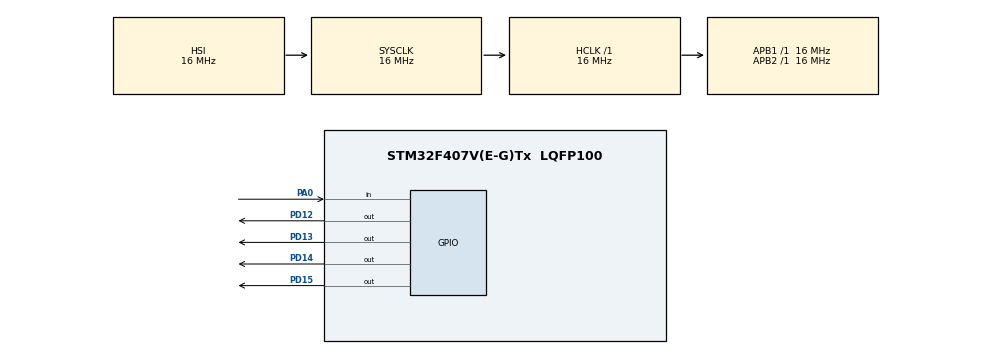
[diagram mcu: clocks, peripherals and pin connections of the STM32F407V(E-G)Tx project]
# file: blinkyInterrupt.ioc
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Mcu.Family=STM32F4
Mcu.Name=STM32F407V(E-G)Tx
Mcu.Package=LQFP100
NVIC.PriorityGroup=NVIC_PRIORITYGROUP_4
NVIC.TIM2_IRQn=true\:0\:0\:false\:true\:true\:1\:true\:true\:true
PA0-WKUP.GPIO_PuPd=GPIO_PULLUP
PA0-WKUP.Signal=GPIO_Input
PD12.Signal=GPIO_Output
PD13.Signal=GPIO_Output
PD14.Signal=GPIO_Output
PD15.Signal=GPIO_Output
ProjectManager.HeapSize=0x200
ProjectManager.StackSize=0x400
ProjectManager.TargetToolchain=STM32CubeIDE
RCC.AHBFreq_Value=16000000
RCC.APB1Freq_Value=16000000
RCC.APB2Freq_Value=16000000
RCC.CortexFreq_Value=16000000
RCC.HSE_VALUE=25000000
RCC.HSI_VALUE=16000000
RCC.LSE_VALUE=32768
RCC.SYSCLKFreq_VALUE=16000000
RCC.VCOOutputFreq_Value=192000000
TIM2.Period=4000
TIM2.Prescaler=999
VP_TIM2_VS_ClockSourceINT.Mode=Internal
board=custom

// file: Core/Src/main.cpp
/* USER CODE BEGIN Header */
/**
  ******************************************************************************
  * @file           : main.c
  * @brief          : Main program body
  ******************************************************************************
  * @attention
  *
  * Copyright (c) 2023 STMicroelectronics.
  * All rights reserved.
  *
  * This software is licensed under terms that can be found in the LICENSE file
  * in the root directory of this software component.
  * If no LICENSE file comes with this software, it is provided AS-IS.
  *
  ******************************************************************************
  */
/* USER CODE END Header */
#include "main.h"
#include "stdio.h"
#include "stdbool.h"
#include "button.hpp"

/* USER CODE BEGIN PD */
#define GPIOA_PIN0_IDR 0x01
#define DELAY_MAX 175000
/* USER CODE END PD */

TIM_HandleTypeDef htim2;

/* USER CODE BEGIN PV */
volatile uint32_t* gpioAIDR = (&(GPIOA->IDR));

Button usrButton(0, gpioAIDR, GPIO_PIN_0);
/* USER CODE END PV */

void SystemClock_Config(void);
static void MX_GPIO_Init(void);
static void MX_TIM2_Init(void);
static void MX_NVIC_Init(void);

int main(void)
{

  /* MCU Configuration--------------------------------------------------------*/

  /* Reset of all peripherals, Initializes the Flash interface and the Systick. */
  HAL_Init();

  /* Configure the system clock */
  SystemClock_Config();

  /* Initialize all configured peripherals */
  MX_GPIO_Init();
  MX_TIM2_Init();

  /* Initialize interrupts */
  MX_NVIC_Init();
  /* USER CODE BEGIN 2 */
  HAL_TIM_Base_Start_IT(&htim2);

  /* USER CODE END 2 */

  /* Infinite loop */
  while (1)
  {
	/* USER CODE BEGIN 3 */

		  HAL_GPIO_TogglePin(GPIOD, GPIO_PIN_12);
		  for(uint32_t i=DELAY_MAX; i--;);
		  HAL_GPIO_TogglePin(GPIOD, GPIO_PIN_13);
		  for(uint32_t i=DELAY_MAX; i--;);
		  HAL_GPIO_TogglePin(GPIOD, GPIO_PIN_14);
		  for(uint32_t i=DELAY_MAX; i--;);
		  HAL_GPIO_TogglePin(GPIOD, GPIO_PIN_15);
		  for(uint32_t i=DELAY_MAX; i--;);

    /* USER CODE END 3 */
  }
}

void SystemClock_Config(void)
{
  RCC_OscInitTypeDef RCC_OscInitStruct = {0};
  RCC_ClkInitTypeDef RCC_ClkInitStruct = {0};

  /** Configure the main internal regulator output voltage
  */
  __HAL_RCC_PWR_CLK_ENABLE();
  __HAL_PWR_VOLTAGESCALING_CONFIG(PWR_REGULATOR_VOLTAGE_SCALE1);

  /** Initializes the RCC Oscillators according to the specified parameters
  * in the RCC_OscInitTypeDef structure.
  */
  RCC_OscInitStruct.OscillatorType = RCC_OSCILLATORTYPE_HSI;
  RCC_OscInitStruct.HSIState = RCC_HSI_ON;
  RCC_OscInitStruct.HSICalibrationValue = RCC_HSICALIBRATION_DEFAULT;
  RCC_OscInitStruct.PLL.PLLState = RCC_PLL_NONE;
  if (HAL_RCC_OscConfig(&RCC_OscInitStruct) != HAL_OK)
  {
    Error_Handler();
  }

  /** Initializes the CPU, AHB and APB buses clocks
  */
  RCC_ClkInitStruct.ClockType = RCC_CLOCKTYPE_HCLK|RCC_CLOCKTYPE_SYSCLK
                              |RCC_CLOCKTYPE_PCLK1|RCC_CLOCKTYPE_PCLK2;
  RCC_ClkInitStruct.SYSCLKSource = RCC_SYSCLKSOURCE_HSI;
  RCC_ClkInitStruct.AHBCLKDivider = RCC_SYSCLK_DIV1;
  RCC_ClkInitStruct.APB1CLKDivider = RCC_HCLK_DIV1;
  RCC_ClkInitStruct.APB2CLKDivider = RCC_HCLK_DIV1;

  if (HAL_RCC_ClockConfig(&RCC_ClkInitStruct, FLASH_LATENCY_0) != HAL_OK)
  {
    Error_Handler();
  }
}

/**
  * @brief NVIC Configuration.
  * @retval None
  */
static void MX_NVIC_Init(void)
{
  /* TIM2_IRQn interrupt configuration */
  HAL_NVIC_SetPriority(TIM2_IRQn, 0, 0);
  HAL_NVIC_EnableIRQ(TIM2_IRQn);
}

static void MX_TIM2_Init(void)
{

  TIM_ClockConfigTypeDef sClockSourceConfig = {0};
  TIM_MasterConfigTypeDef sMasterConfig = {0};

  htim2.Instance = TIM2;
  htim2.Init.Prescaler = 999;
  htim2.Init.CounterMode = TIM_COUNTERMODE_UP;
  htim2.Init.Period = 999;
  htim2.Init.ClockDivision = TIM_CLOCKDIVISION_DIV1;
  htim2.Init.AutoReloadPreload = TIM_AUTORELOAD_PRELOAD_DISABLE;
  if (HAL_TIM_Base_Init(&htim2) != HAL_OK)
  {
    Error_Handler();
  }
  sClockSourceConfig.ClockSource = TIM_CLOCKSOURCE_INTERNAL;
  if (HAL_TIM_ConfigClockSource(&htim2, &sClockSourceConfig) != HAL_OK)
  {
    Error_Handler();
  }
  sMasterConfig.MasterOutputTrigger = TIM_TRGO_RESET;
  sMasterConfig.MasterSlaveMode = TIM_MASTERSLAVEMODE_DISABLE;
  if (HAL_TIMEx_MasterConfigSynchronization(&htim2, &sMasterConfig) != HAL_OK)
  {
    Error_Handler();
  }

}

static void MX_GPIO_Init(void)
{
  GPIO_InitTypeDef GPIO_InitStruct = {0};

  /* GPIO Ports Clock Enable */
  __HAL_RCC_GPIOA_CLK_ENABLE();
  __HAL_RCC_GPIOD_CLK_ENABLE();

  /*Configure GPIO pin Output Level */
  HAL_GPIO_WritePin(GPIOD, GPIO_PIN_12|GPIO_PIN_13|GPIO_PIN_14|GPIO_PIN_15, GPIO_PIN_RESET);

  /*Configure GPIO pin : PA0 */
  GPIO_InitStruct.Pin = GPIO_PIN_0;
  GPIO_InitStruct.Mode = GPIO_MODE_INPUT;
  GPIO_InitStruct.Pull = GPIO_PULLDOWN;
  HAL_GPIO_Init(GPIOA, &GPIO_InitStruct);

  /*Configure GPIO pins : PD12 PD13 PD14 PD15 */
  GPIO_InitStruct.Pin = GPIO_PIN_12|GPIO_PIN_13|GPIO_PIN_14|GPIO_PIN_15;
  GPIO_InitStruct.Mode = GPIO_MODE_OUTPUT_PP;
  GPIO_InitStruct.Pull = GPIO_NOPULL;
  GPIO_InitStruct.Speed = GPIO_SPEED_FREQ_LOW;
  HAL_GPIO_Init(GPIOD, &GPIO_InitStruct);

}

/* USER CODE BEGIN 4 */
// Callback: timer has rolled over
void HAL_TIM_PeriodElapsedCallback(TIM_HandleTypeDef *htim)
{
	//printf("timer_interrupt");

  if (htim == &htim2 )
  {
	  while (usrButton.debounce())
	  {
		  HAL_GPIO_WritePin(GPIOD, GPIO_PIN_12 | GPIO_PIN_13 | GPIO_PIN_14 | GPIO_PIN_15, GPIO_PIN_RESET);
	  }
  }

}
/* USER CODE END 4 */

void Error_Handler(void)
{
  __disable_irq();
  while (1)
  {
  }
}
